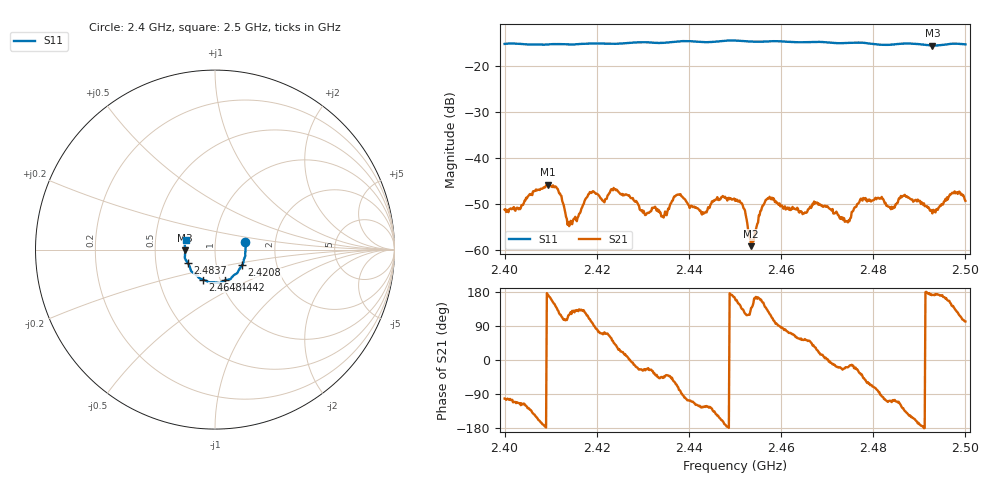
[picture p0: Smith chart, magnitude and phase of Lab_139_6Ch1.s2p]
# Hz S RI R 50
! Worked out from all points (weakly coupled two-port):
!   601 points, 2.4 GHz to 2.5 GHz, reference 50 ohm
!   highest |S21| = -45.72 dB at 2.4093 GHz (marker M1); lowest = -59.1 dB at 2.4535 GHz (marker M2)
!   lowest |S11| = -15.6 dB at 2.4928 GHz (marker M3), VSWR 1.40, Z = 35.8 - j0.365 ohm
!   |S11| at or under -10 dB: start of sweep to end of sweep
!   S12 and S22 are empty: the file has one direction only
!   S11 on the Smith chart (normalised r, x): 2.4 GHz: 1.40, +0.12; 2.4208 GHz: 1.33, -0.24; 2.4442 GHz: 1.05, -0.37; 2.4648 GHz: 0.83, -0.29; 2.4837 GHz: 0.73, -0.11; 2.5 GHz: 0.72, +0.08
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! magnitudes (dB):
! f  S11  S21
! 2.4 GHz  -15.3  -51.1
! 2.4093 GHz  -15.4  -45.7
! 2.4118 GHz  -15.3  -47.6
! 2.4142 GHz  -15.4  -54.3
! 2.4167 GHz  -15.2  -51.0
! 2.4208 GHz  -15.2  -48.7
! 2.4333 GHz  -15.0  -51.6
! 2.4377 GHz  -14.7  -47.9
! 2.4442 GHz  -14.9  -50.6
! 2.45 GHz  -14.5  -49.2
! 2.4518 GHz  -14.6  -50.8
! 2.4535 GHz  -14.7  -59.1
! 2.4572 GHz  -14.7  -48.7
! 2.4648 GHz  -14.9  -52.0
! 2.4667 GHz  -14.8  -50.5
! 2.4743 GHz  -15.1  -53.7
! 2.4777 GHz  -15.0  -49.2
! 2.4833 GHz  -15.5  -50.5
! 2.4837 GHz  -15.4  -50.6
! 2.4868 GHz  -15.2  -48.0
! 2.4928 GHz  -15.6  -52.0
! 2.5 GHz  -15.3  -49.3
